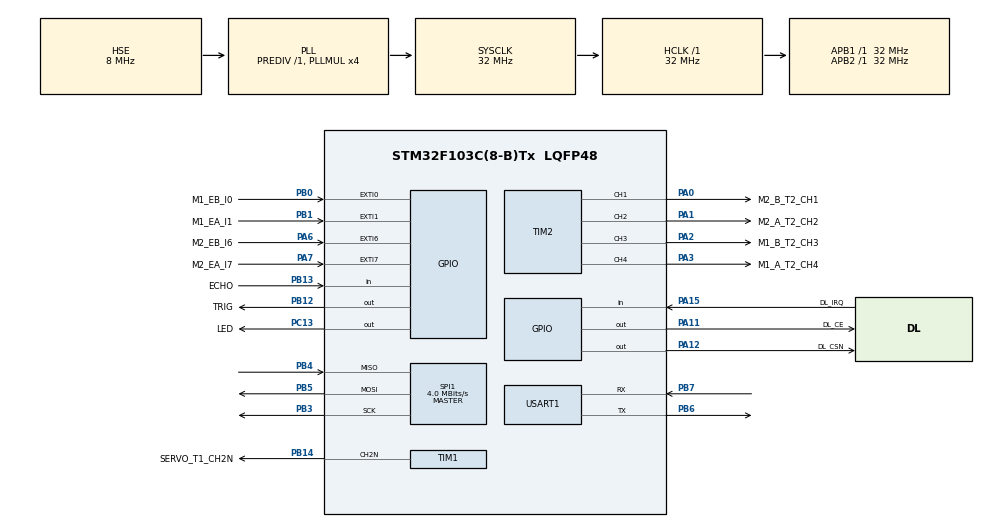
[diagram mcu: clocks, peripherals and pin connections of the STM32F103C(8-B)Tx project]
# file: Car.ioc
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IWDG.Prescaler=IWDG_PRESCALER_64
IWDG.Reload=625
Mcu.Family=STM32F1
Mcu.Name=STM32F103C(8-B)Tx
Mcu.Package=LQFP48
NVIC.EXTI0_IRQn=true\:0\:0\:false\:false\:true\:true\:true\:true
NVIC.EXTI1_IRQn=true\:0\:0\:false\:false\:true\:true\:true\:true
NVIC.EXTI9_5_IRQn=true\:0\:0\:false\:false\:true\:true\:true\:true
NVIC.PriorityGroup=NVIC_PRIORITYGROUP_4
NVIC.SPI1_IRQn=true\:0\:0\:false\:false\:true\:true\:true\:true
NVIC.TIM3_IRQn=true\:0\:0\:false\:false\:true\:true\:true\:true
NVIC.USART1_IRQn=true\:0\:0\:false\:false\:true\:true\:true\:true
PA0-WKUP.GPIO_Label=M2_B_T2_CH1
PA0-WKUP.Signal=S_TIM2_CH1_ETR
PA1.GPIO_Label=M2_A_T2_CH2
PA1.Signal=S_TIM2_CH2
PA11.GPIO_Label=DL_CE
PA11.GPIO_PuPd=GPIO_NOPULL
PA11.GPIO_Speed=GPIO_SPEED_FREQ_HIGH
PA11.PinState=GPIO_PIN_SET
PA11.Signal=GPIO_Output
PA12.GPIO_Label=DL_CSN
PA12.GPIO_ModeDefaultOutputPP=GPIO_MODE_OUTPUT_PP
PA12.GPIO_PuPd=GPIO_NOPULL
PA12.GPIO_Speed=GPIO_SPEED_FREQ_HIGH
PA12.PinState=GPIO_PIN_SET
PA12.Signal=GPIO_Output
PA13.Mode=Serial_Wire
PA13.Signal=SYS_JTMS-SWDIO
PA14.Mode=Serial_Wire
PA14.Signal=SYS_JTCK-SWCLK
PA15.GPIO_Label=DL_IRQ
PA15.GPIO_PuPd=GPIO_PULLUP
PA15.Signal=GPIO_Input
PA2.GPIO_Label=M1_B_T2_CH3
PA2.Signal=S_TIM2_CH3
PA3.GPIO_Label=M1_A_T2_CH4
PA3.Signal=S_TIM2_CH4
PA6.GPIO_Label=M2_EB_I6
PA6.GPIO_PuPd=GPIO_PULLDOWN
PA6.Signal=GPXTI6
PA7.GPIO_Label=M2_EA_I7
PA7.GPIO_PuPd=GPIO_PULLDOWN
PA7.Signal=GPXTI7
PB0.GPIO_Label=M1_EB_I0
PB0.GPIO_PuPd=GPIO_PULLDOWN
PB0.Signal=GPXTI0
PB1.GPIO_Label=M1_EA_I1
PB1.GPIO_PuPd=GPIO_PULLDOWN
PB1.Signal=GPXTI1
PB12.GPIO_Label=TRIG
PB12.Signal=GPIO_Output
PB13.GPIO_Label=ECHO
PB13.GPIO_PuPd=GPIO_PULLDOWN
PB13.Signal=GPIO_Input
PB14.GPIO_Label=SERVO_T1_CH2N
PB14.Mode=PWM Generation2 CH2N
PB14.Signal=TIM1_CH2N
PB3.Mode=Full_Duplex_Master
PB3.Signal=SPI1_SCK
PB4.Mode=Full_Duplex_Master
PB4.Signal=SPI1_MISO
PB5.Mode=Full_Duplex_Master
PB5.Signal=SPI1_MOSI
PB6.Mode=Asynchronous
PB6.Signal=USART1_TX
PB7.Mode=Asynchronous
PB7.Signal=USART1_RX
PC13-TAMPER-RTC.GPIO_Label=LED
PC13-TAMPER-RTC.PinState=GPIO_PIN_SET
PC13-TAMPER-RTC.Signal=GPIO_Output
PD0-OSC_IN.Mode=HSE-External-Oscillator
PD0-OSC_IN.Signal=RCC_OSC_IN
PD1-OSC_OUT.Mode=HSE-External-Oscillator
PD1-OSC_OUT.Signal=RCC_OSC_OUT
ProjectManager.HeapSize=0x200
ProjectManager.StackSize=0x400
ProjectManager.TargetToolchain=Makefile
RCC.AHBFreq_Value=32000000
RCC.APB1Freq_Value=32000000
RCC.APB1TimFreq_Value=32000000
RCC.APB2Freq_Value=32000000
RCC.APB2TimFreq_Value=32000000
RCC.HCLKFreq_Value=32000000
RCC.PLLMUL=RCC_PLL_MUL4
RCC.PLLSourceVirtual=RCC_PLLSOURCE_HSE
RCC.SYSCLKFreq_VALUE=32000000
RCC.SYSCLKSource=RCC_SYSCLKSOURCE_PLLCLK
RCC.USBFreq_Value=32000000
SH.S_TIM2_CH1_ETR.0=TIM2_CH1,PWM Generation1 CH1
SH.S_TIM2_CH2.0=TIM2_CH2,PWM Generation2 CH2
SH.S_TIM2_CH3.0=TIM2_CH3,PWM Generation3 CH3
SH.S_TIM2_CH4.0=TIM2_CH4,PWM Generation4 CH4
SPI1.BaudRatePrescaler=SPI_BAUDRATEPRESCALER_8
SPI1.CalculateBaudRate=4.0 MBits/s
SPI1.Direction=SPI_DIRECTION_2LINES
SPI1.Mode=SPI_MODE_MASTER
SPI1.VirtualType=VM_MASTER
TIM1.Channel-PWM\ Generation2\ CH2N=TIM_CHANNEL_2
TIM1.Period=999
TIM1.Prescaler=1439
TIM2.Channel-PWM\ Generation1\ CH1=TIM_CHANNEL_1
TIM2.Channel-PWM\ Generation2\ CH2=TIM_CHANNEL_2
TIM2.Channel-PWM\ Generation3\ CH3=TIM_CHANNEL_3
TIM2.Channel-PWM\ Generation4\ CH4=TIM_CHANNEL_4
TIM3.Period=99
TIM3.Prescaler=71
USART1.VirtualMode=VM_ASYNC
VP_IWDG_VS_IWDG.Mode=IWDG_Activate
VP_TIM3_VS_ClockSourceINT.Mode=Internal
board=custom

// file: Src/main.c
/* USER CODE BEGIN Header */
/**
  ******************************************************************************
  * @file           : main.c
  * @brief          : Main program body
  ******************************************************************************
  * @attention
  *
  * Copyright (c) 2022 STMicroelectronics.
  * All rights reserved.
  *
  * This software is licensed under terms that can be found in the LICENSE file
  * in the root directory of this software component.
  * If no LICENSE file comes with this software, it is provided AS-IS.
  *
  ******************************************************************************
  */
/* USER CODE END Header */
#include "main.h"
#include "iwdg.h"
#include "spi.h"
#include "tim.h"
#include "usart.h"
#include "gpio.h"

/* USER CODE BEGIN Includes */

#include "driver.h"

#include "nrf24l01.h"

/* USER CODE END Includes */

/* USER CODE BEGIN PV */

DRIVER *driver;

/* USER CODE END PV */

void SystemClock_Config(void);
/* USER CODE BEGIN PFP */

void HAL_TIM_PeriodElapsedCallback(TIM_HandleTypeDef *htim)
{
  if (htim == &htim3)
  {
    timer_running();
    run_inner_timer_node();
  }
}

void HAL_GPIO_EXTI_Callback(uint16_t GPIO_Pin)
{
  switch (GPIO_Pin)
  {
  case M1_EA_I1_Pin:
    /* code */
    break;
  case M1_EB_I0_Pin:
    /* code */
    break;
  case M2_EA_I7_Pin:
    /* code */
    break;
  case M2_EB_I6_Pin:
    /* code */
    break;
  default:
    break;
  }
}

// #define TEST_NRF 1
#define TEST 1

/* USER CODE END PFP */

/* USER CODE BEGIN 0 */

uint8_t recivedDataStruct[32];

/* USER CODE END 0 */

int main(void)
{

  /* MCU Configuration--------------------------------------------------------*/

  /* Reset of all peripherals, Initializes the Flash interface and the Systick. */
  HAL_Init();

  /* Configure the system clock */
  SystemClock_Config();

  /* Initialize all configured peripherals */
  MX_GPIO_Init();
  #ifndef TEST
  MX_IWDG_Init();
  #endif
  MX_SPI1_Init();
  MX_TIM1_Init();
  MX_TIM2_Init();
  MX_TIM3_Init();
  MX_USART1_UART_Init();
  /* USER CODE BEGIN 2 */
  DRIVER_Init();
  PROC_Init();

  // 复位转向

  // -1.5
  DriverCar(driver, 0, 0);

  HAL_Delay(2000);

  while (NRF24L01_Check() == 1)
  {
    HAL_Delay(1000);
    /* code */
  };

  HAL_Delay(200);

  NRF24L01_RX_Mode();

  #ifdef TEST_NRF
  #endif

  /* USER CODE END 2 */

  /* Infinite loop */
  /* USER CODE BEGIN WHILE */
  while (1)
  {
    #ifndef TEST
    HAL_IWDG_Refresh(&hiwdg);
    #endif

    if (htim3.State == HAL_TIM_STATE_BUSY)
    {
      run_timer_node();
    }

    #ifdef TEST_MOTOR
    for (size_t i = 0; i < 100; i++)
    {
      DriverPower(driver, 0, i * 0.01, i * 0.01);
      HAL_Delay(50);
    }
    HAL_Delay(300);
    for (size_t i = 0; i < 100; i++)
    {
      DriverPower(driver, 0, -i * 0.01, -i * 0.01);
      HAL_Delay(50);
    }
    HAL_Delay(300);
    for (size_t i = 100; i > 1; i--)
    {
      DriverPower(driver, 0, i * 0.01, i * 0.01);
      HAL_Delay(50);
    }
    HAL_Delay(300);
    for (size_t i = 100; i > 1; i--)
    {
      DriverPower(driver, 0, -i * 0.01, -i * 0.01);
      HAL_Delay(50);
    }
    HAL_Delay(300);
    #endif

    #ifdef TEST_SERVO
      DriverPower(driver, 0, 0, 0);
    for (size_t i = 0; i < 100; i++)
    {
      DriverPower(driver, (float) i / 100, 0, 0);
      HAL_Delay(200);
    }
    HAL_Delay(2000);
    for (size_t i = 100; i > 0; i--)
    {
      DriverPower(driver, (float) i / 100, 0, 0);
      HAL_Delay(20);
    }
    DriverPower(driver, -1, 0, 0);

    HAL_Delay(2000);
    #endif

    #ifdef TEST_NRF
    auto irq = NRF24L01_IRQ_PIN_READ();

    if (irq == 0)
    {
      // recived
      HAL_Delay(2000);
    }

    uint8_t dt = NRF24L01_RxPacket(recivedDataStruct);
    if (dt == 0) {
      HAL_Delay(100);
    }
    #endif
    // DriverPower(driver, 0, 0.5, -0.5); // 左

    // HAL_Delay(5000);
    // DriverPower(driver, 1, 0, 0); // 左
    // HAL_Delay(5000);

    // DriverPower(driver, 0, 0, 0); // 向
    // HAL_Delay(5000);
    // DriverPower(driver, -1, 0.5, 0.5); // 向
    // HAL_Delay(5000);
    // DriverPower(driver, 0, 0, 0); // 向
    // HAL_Delay(5000);
    // HAL_Delay(5000);
    // DriverPower(driver, -1, 0, 0); // 向右
    // HAL_Delay(5000);
    // DriverPower(driver, 0, 0, 0); // 向
    // HAL_Delay(5000);

    /* USER CODE END WHILE */

  }
}

void SystemClock_Config(void)
{
  RCC_OscInitTypeDef RCC_OscInitStruct = {0};
  RCC_ClkInitTypeDef RCC_ClkInitStruct = {0};

  /** Initializes the RCC Oscillators according to the specified parameters
  * in the RCC_OscInitTypeDef structure.
  */
  RCC_OscInitStruct.OscillatorType = RCC_OSCILLATORTYPE_LSI|RCC_OSCILLATORTYPE_HSE;
  RCC_OscInitStruct.HSEState = RCC_HSE_ON;
  RCC_OscInitStruct.HSEPredivValue = RCC_HSE_PREDIV_DIV1;
  RCC_OscInitStruct.HSIState = RCC_HSI_ON;
  RCC_OscInitStruct.LSIState = RCC_LSI_ON;
  RCC_OscInitStruct.PLL.PLLState = RCC_PLL_ON;
  RCC_OscInitStruct.PLL.PLLSource = RCC_PLLSOURCE_HSE;
  RCC_OscInitStruct.PLL.PLLMUL = RCC_PLL_MUL4;
  if (HAL_RCC_OscConfig(&RCC_OscInitStruct) != HAL_OK)
  {
    Error_Handler();
  }

  /** Initializes the CPU, AHB and APB buses clocks
  */
  RCC_ClkInitStruct.ClockType = RCC_CLOCKTYPE_HCLK|RCC_CLOCKTYPE_SYSCLK
                              |RCC_CLOCKTYPE_PCLK1|RCC_CLOCKTYPE_PCLK2;
  RCC_ClkInitStruct.SYSCLKSource = RCC_SYSCLKSOURCE_PLLCLK;
  RCC_ClkInitStruct.AHBCLKDivider = RCC_SYSCLK_DIV1;
  RCC_ClkInitStruct.APB1CLKDivider = RCC_HCLK_DIV1;
  RCC_ClkInitStruct.APB2CLKDivider = RCC_HCLK_DIV1;

  if (HAL_RCC_ClockConfig(&RCC_ClkInitStruct, FLASH_LATENCY_1) != HAL_OK)
  {
    Error_Handler();
  }
}

void Error_Handler(void)
{
  /* USER CODE BEGIN Error_Handler_Debug */
  /* User can add his own implementation to report the HAL error return state */
  __disable_irq();
  while (1)
  {
    HAL_Delay(500);
    HAL_GPIO_TogglePin(LED_GPIO_Port, LED_Pin);
  }
  /* USER CODE END Error_Handler_Debug */
}
